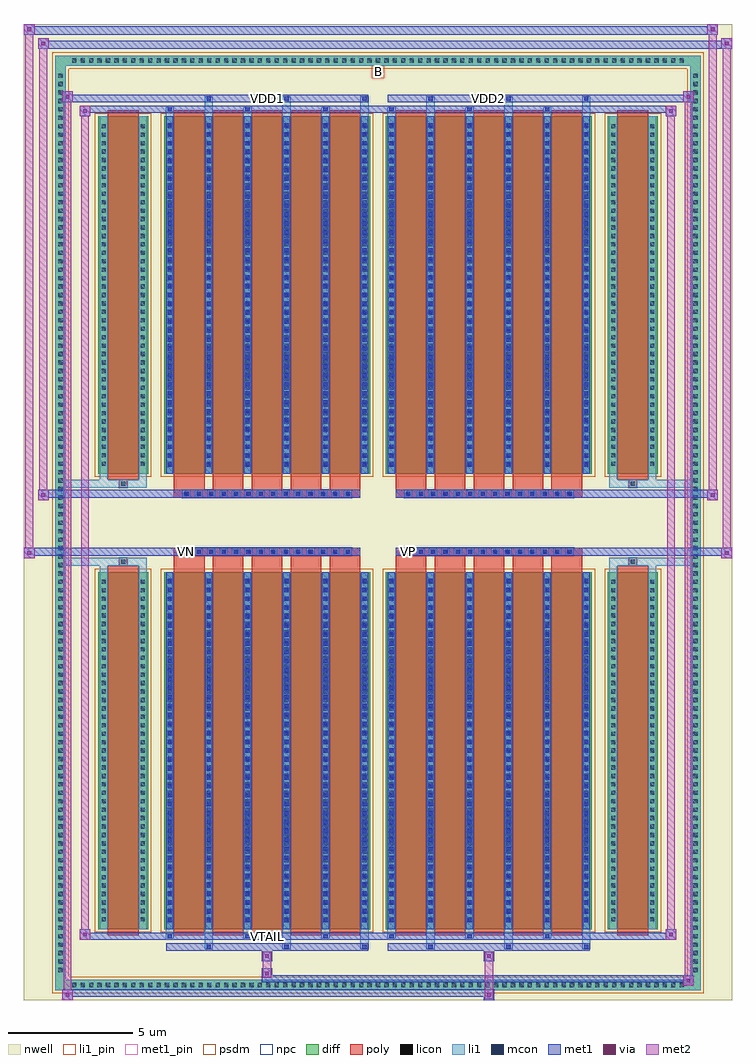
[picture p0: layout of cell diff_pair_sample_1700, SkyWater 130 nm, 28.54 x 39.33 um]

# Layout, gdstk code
import gdstk
lib = gdstk.Library(unit=1e-6, precision=5e-09)
def R(c, l, rs):  # rectangles x0, y0, x1, y1
    for r in rs: c.add(gdstk.rectangle(r[:2], r[2:], *l))
def A(c, l, x, y, w, h, nx, ny, dx, dy):  # array of equal rectangles
    R(c, l, [(x+i*dx, y+j*dy, x+i*dx+w, y+j*dy+h) for i in range(nx) for j in range(ny)])
def P(c, l, *ps):  # polygons
    for p in ps: c.add(gdstk.Polygon(p, *l))
nwell = (64, 20)
diff = (65, 20)
poly = (66, 20)
licon = (66, 44)
li1_pin = (67, 16)
li1 = (67, 20)
mcon = (67, 44)
met1_pin = (68, 16)
met1 = (68, 20)
via = (68, 44)
met2 = (69, 20)
psdm = (94, 20)
npc = (95, 20)

diff_pair_sample_1700 = lib.new_cell('diff_pair_sample_1700')
R(diff_pair_sample_1700, nwell, [(-14.27,-19.23,14.27,20.1), (-11.59,-17.42,-0.01,-0.8), (0.01,-17.42,11.59,-0.8), (-11.59,0.8,-0.01,17.42), (0.01,0.8,11.59,17.42)])
A(diff_pair_sample_1700, diff, -12.445, -18.83, 0.41, 0.41, 73, 2, 0.34, 37.25)
A(diff_pair_sample_1700, diff, -13, -18.225, 0.41, 0.41, 1, 107, 0, 0.34)
A(diff_pair_sample_1700, diff, 12.59, -18.225, 0.41, 0.41, 1, 107, 0, 0.34)
R(diff_pair_sample_1700, diff, [(-12.445,-18.83,12.445,-18.42), (-13,-18.225,-12.59,18.225), (12.59,-18.225,13,18.225), (-11.28,-16.375,-9.26,-1.985), (-8.62,-16.375,-0.32,-1.985), (0.32,-16.375,8.62,-1.985), (9.26,-16.375,11.28,-1.985), (-11.28,1.985,-9.26,16.375), (-8.62,1.985,-0.32,16.375), (0.32,1.985,8.62,16.375), (9.26,1.985,11.28,16.375), (-12.445,18.42,12.445,18.83)])
P(diff_pair_sample_1700, diff, [(13,18.83),(-13,18.83),(-13,-18.42),(-12.59,-18.42),(-12.59,18.42),(12.59,18.42),(12.59,-18.42),(-12.59,-18.42),(-13,-18.42),(-13,-18.83),(13,-18.83)])
A(diff_pair_sample_1700, poly, -8.23, -16.625, 1.24, 14.89, 5, 2, 1.57, 18.36)
A(diff_pair_sample_1700, poly, 0.71, -16.625, 1.24, 14.89, 5, 2, 1.57, 18.36)
A(diff_pair_sample_1700, poly, -8.23, -1.735, 1.24, 0.405, 5, 2, 1.57, 3.065)
A(diff_pair_sample_1700, poly, 0.71, -1.735, 1.24, 0.405, 5, 2, 1.57, 3.065)
A(diff_pair_sample_1700, poly, -7.885, -1.33, 0.33, 0.33, 14, 2, 0.5, 2.33)
A(diff_pair_sample_1700, poly, 1.055, -1.33, 0.33, 0.33, 14, 2, 0.5, 2.33)
R(diff_pair_sample_1700, poly, [(-10.89,-16.625,-9.65,-1.735), (9.65,-16.625,10.89,-1.735), (-10.435,-1.735,-10.105,-1.405), (-10.435,-1.735,-10.105,-1.405), (10.105,-1.735,10.435,-1.405), (10.105,-1.735,10.435,-1.405), (-8.23,-1.33,-0.71,-1), (0.71,-1.33,8.23,-1), (-8.23,1,-0.71,1.33), (0.71,1,8.23,1.33), (-10.435,1.405,-10.105,1.735), (-10.435,1.405,-10.105,1.735), (10.105,1.405,10.435,1.735), (10.105,1.405,10.435,1.735), (-10.89,1.735,-9.65,16.625), (9.65,1.735,10.89,16.625)])
A(diff_pair_sample_1700, licon, -12.325, -18.71, 0.17, 0.17, 73, 2, 0.34, 37.25)
A(diff_pair_sample_1700, licon, -12.88, -18.105, 0.17, 0.17, 1, 107, 0, 0.34)
A(diff_pair_sample_1700, licon, 12.71, -18.105, 0.17, 0.17, 1, 107, 0, 0.34)
A(diff_pair_sample_1700, licon, -11.14, -16.065, 0.17, 0.17, 1, 41, 0, 0.34)
A(diff_pair_sample_1700, licon, -9.57, -16.065, 0.17, 0.17, 1, 41, 0, 0.34)
A(diff_pair_sample_1700, licon, -8.48, -16.065, 0.17, 0.17, 6, 41, 1.57, 0.34)
A(diff_pair_sample_1700, licon, 0.46, -16.065, 0.17, 0.17, 6, 41, 1.57, 0.34)
A(diff_pair_sample_1700, licon, 9.4, -16.065, 0.17, 0.17, 1, 41, 0, 0.34)
A(diff_pair_sample_1700, licon, 10.97, -16.065, 0.17, 0.17, 1, 41, 0, 0.34)
A(diff_pair_sample_1700, licon, -7.805, -1.25, 0.17, 0.17, 14, 2, 0.5, 2.33)
A(diff_pair_sample_1700, licon, 1.135, -1.25, 0.17, 0.17, 14, 2, 0.5, 2.33)
A(diff_pair_sample_1700, licon, -11.14, 2.295, 0.17, 0.17, 1, 41, 0, 0.34)
A(diff_pair_sample_1700, licon, -9.57, 2.295, 0.17, 0.17, 1, 41, 0, 0.34)
A(diff_pair_sample_1700, licon, -8.48, 2.295, 0.17, 0.17, 6, 41, 1.57, 0.34)
A(diff_pair_sample_1700, licon, 0.46, 2.295, 0.17, 0.17, 6, 41, 1.57, 0.34)
A(diff_pair_sample_1700, licon, 9.4, 2.295, 0.17, 0.17, 1, 41, 0, 0.34)
A(diff_pair_sample_1700, licon, 10.97, 2.295, 0.17, 0.17, 1, 41, 0, 0.34)
R(diff_pair_sample_1700, licon, [(-10.355,-1.655,-10.185,-1.485), (10.185,-1.655,10.355,-1.485), (-10.355,1.485,-10.185,1.655), (10.185,1.485,10.355,1.655)])
R(diff_pair_sample_1700, li1_pin, [(-0.25,17.92,0.25,18.42)])
A(diff_pair_sample_1700, li1, -12.405, -18.79, 0.33, 0.33, 73, 2, 0.34, 37.25)
A(diff_pair_sample_1700, li1, -12.96, -18.185, 0.33, 0.33, 1, 107, 0, 0.34)
A(diff_pair_sample_1700, li1, 12.63, -18.185, 0.33, 0.33, 1, 107, 0, 0.34)
A(diff_pair_sample_1700, li1, -6.99, -17.18, 0.33, 0.805, 3, 2, 3.14, 33.555)
A(diff_pair_sample_1700, li1, -6.91, -17.18, 0.17, 0.17, 3, 2, 3.14, 34.19)
A(diff_pair_sample_1700, li1, 1.95, -17.18, 0.33, 0.805, 3, 2, 3.14, 33.555)
A(diff_pair_sample_1700, li1, 2.03, -17.18, 0.17, 0.17, 3, 2, 3.14, 34.19)
A(diff_pair_sample_1700, li1, -8.56, -16.75, 0.33, 0.375, 3, 2, 3.14, 33.125)
A(diff_pair_sample_1700, li1, -8.48, -16.75, 0.17, 0.17, 3, 2, 3.14, 33.33)
A(diff_pair_sample_1700, li1, 0.38, -16.75, 0.33, 0.375, 3, 2, 3.14, 33.125)
A(diff_pair_sample_1700, li1, 0.46, -16.75, 0.17, 0.17, 3, 2, 3.14, 33.33)
A(diff_pair_sample_1700, li1, -8.56, -16.375, 0.33, 14.39, 6, 2, 1.57, 18.36)
A(diff_pair_sample_1700, li1, 0.38, -16.375, 0.33, 14.39, 6, 2, 1.57, 18.36)
A(diff_pair_sample_1700, li1, -11.22, -16.145, 0.33, 0.33, 1, 41, 0, 0.34)
A(diff_pair_sample_1700, li1, -9.65, -16.145, 0.33, 0.33, 1, 41, 0, 0.34)
A(diff_pair_sample_1700, li1, -8.56, -16.145, 0.33, 0.33, 6, 41, 1.57, 0.34)
A(diff_pair_sample_1700, li1, 0.38, -16.145, 0.33, 0.33, 6, 41, 1.57, 0.34)
A(diff_pair_sample_1700, li1, 9.32, -16.145, 0.33, 0.33, 1, 41, 0, 0.34)
A(diff_pair_sample_1700, li1, 10.89, -16.145, 0.33, 0.33, 1, 41, 0, 0.34)
A(diff_pair_sample_1700, li1, -8.48, -16.105, 0.17, 0.17, 6, 39, 1.57, 0.36)
A(diff_pair_sample_1700, li1, -8.48, -16.105, 0.17, 13.85, 6, 2, 1.57, 18.36)
A(diff_pair_sample_1700, li1, 0.46, -16.105, 0.17, 0.17, 6, 39, 1.57, 0.36)
A(diff_pair_sample_1700, li1, 0.46, -16.105, 0.17, 13.85, 6, 2, 1.57, 18.36)
A(diff_pair_sample_1700, li1, -7.885, -1.33, 0.33, 0.33, 14, 2, 0.5, 2.33)
A(diff_pair_sample_1700, li1, 1.055, -1.33, 0.33, 0.33, 14, 2, 0.5, 2.33)
A(diff_pair_sample_1700, li1, -11.22, 2.215, 0.33, 0.33, 1, 41, 0, 0.34)
A(diff_pair_sample_1700, li1, -9.65, 2.215, 0.33, 0.33, 1, 41, 0, 0.34)
A(diff_pair_sample_1700, li1, -8.56, 2.215, 0.33, 0.33, 6, 41, 1.57, 0.34)
A(diff_pair_sample_1700, li1, 0.38, 2.215, 0.33, 0.33, 6, 41, 1.57, 0.34)
A(diff_pair_sample_1700, li1, 9.32, 2.215, 0.33, 0.33, 1, 41, 0, 0.34)
A(diff_pair_sample_1700, li1, 10.89, 2.215, 0.33, 0.33, 1, 41, 0, 0.34)
A(diff_pair_sample_1700, li1, -8.48, 2.255, 0.17, 0.17, 6, 39, 1.57, 0.36)
A(diff_pair_sample_1700, li1, 0.46, 2.255, 0.17, 0.17, 6, 39, 1.57, 0.36)
R(diff_pair_sample_1700, li1, [(-13,-18.83,-12.59,-18.42), (-13,-18.83,-12.59,-18.42), (-12.59,-18.83,12.59,-18.42), (12.59,-18.83,13,-18.42), (12.59,-18.83,13,-18.42), (-13,-18.42,-12.59,18.42), (12.59,-18.42,13,18.42), (-11.22,-16.375,-10.89,-1.985), (-9.65,-16.375,-9.32,-1.985), (9.32,-16.375,9.65,-1.985), (10.89,-16.375,11.22,-1.985), (-11.22,-1.985,-10.89,-1.405), (-9.65,-1.985,-9.32,-1.405), (9.32,-1.985,9.65,-1.405), (10.89,-1.985,11.22,-1.405), (-13,-1.735,-10.435,-1.405), (-11.22,-1.735,-10.435,-1.405), (-10.435,-1.735,-10.105,-1.405), (-10.105,-1.735,-9.32,-1.405), (9.32,-1.735,10.105,-1.405), (10.105,-1.735,10.435,-1.405), (10.105,-1.735,13,-1.405), (10.435,-1.735,11.22,-1.405), (-13,1.405,-10.435,1.735), (-11.22,1.405,-10.435,1.735), (-11.22,1.405,-10.89,1.985), (-10.435,1.405,-10.105,1.735), (-10.105,1.405,-9.32,1.735), (-9.65,1.405,-9.32,1.985), (9.32,1.405,10.105,1.735), (9.32,1.405,9.65,1.985), (10.105,1.405,10.435,1.735), (10.105,1.405,13,1.735), (10.435,1.405,11.22,1.735), (10.89,1.405,11.22,1.985), (-11.22,1.985,-10.89,16.375), (-9.65,1.985,-9.32,16.375), (9.32,1.985,9.65,16.375), (10.89,1.985,11.22,16.375), (-13,18.42,-12.59,18.83), (-13,18.42,-12.59,18.83), (-12.59,18.42,12.59,18.83), (12.59,18.42,13,18.83), (12.59,18.42,13,18.83)])
A(diff_pair_sample_1700, mcon, -6.91, -17.18, 0.17, 0.17, 3, 2, 3.14, 34.19)
A(diff_pair_sample_1700, mcon, 2.03, -17.18, 0.17, 0.17, 3, 2, 3.14, 34.19)
A(diff_pair_sample_1700, mcon, -8.48, -16.75, 0.17, 0.17, 3, 2, 3.14, 33.33)
A(diff_pair_sample_1700, mcon, 0.46, -16.75, 0.17, 0.17, 3, 2, 3.14, 33.33)
A(diff_pair_sample_1700, mcon, -8.48, -16.105, 0.17, 0.17, 6, 39, 1.57, 0.36)
A(diff_pair_sample_1700, mcon, 0.46, -16.105, 0.17, 0.17, 6, 39, 1.57, 0.36)
A(diff_pair_sample_1700, mcon, -7.805, -1.25, 0.17, 0.17, 14, 2, 0.5, 2.33)
A(diff_pair_sample_1700, mcon, 1.135, -1.25, 0.17, 0.17, 14, 2, 0.5, 2.33)
A(diff_pair_sample_1700, mcon, -8.48, 2.255, 0.17, 0.17, 6, 39, 1.57, 0.36)
A(diff_pair_sample_1700, mcon, 0.46, 2.255, 0.17, 0.17, 6, 39, 1.57, 0.36)
R(diff_pair_sample_1700, met1_pin, [(-4.605,-16.79,-4.335,-16.52), (-7.855,-1.29,-7.585,-1.02), (1.085,-1.29,1.355,-1.02), (-4.605,16.97,-4.335,17.24), (4.335,16.97,4.605,17.24)])
A(diff_pair_sample_1700, met1, -6.97, -17.24, 0.29, 0.29, 3, 2, 3.14, 34.19)
A(diff_pair_sample_1700, met1, 1.97, -17.24, 0.29, 0.29, 3, 2, 3.14, 34.19)
A(diff_pair_sample_1700, met1, -8.54, -16.81, 0.29, 0.29, 3, 2, 3.14, 33.33)
A(diff_pair_sample_1700, met1, 0.4, -16.81, 0.29, 0.29, 3, 2, 3.14, 33.33)
A(diff_pair_sample_1700, met1, -8.54, -16.375, 0.29, 14.39, 6, 2, 1.57, 18.36)
A(diff_pair_sample_1700, met1, 0.4, -16.375, 0.29, 14.39, 6, 2, 1.57, 18.36)
A(diff_pair_sample_1700, met1, -8.54, -16.165, 0.29, 0.29, 6, 39, 1.57, 0.36)
A(diff_pair_sample_1700, met1, 0.4, -16.165, 0.29, 0.29, 6, 39, 1.57, 0.36)
A(diff_pair_sample_1700, met1, -7.865, -1.31, 0.29, 0.29, 14, 2, 0.5, 2.33)
A(diff_pair_sample_1700, met1, 1.075, -1.31, 0.29, 0.29, 14, 2, 0.5, 2.33)
A(diff_pair_sample_1700, met1, -8.54, 2.195, 0.29, 0.29, 6, 39, 1.57, 0.36)
A(diff_pair_sample_1700, met1, 0.4, 2.195, 0.29, 0.29, 6, 39, 1.57, 0.36)
R(diff_pair_sample_1700, met1, [(-12.73,-19.23,-12.3,-18.8), (4.255,-19.23,4.685,-18.8), (-12.73,-19.09,4.685,-18.8), (12.3,-18.66,12.73,-18.23), (-4.685,-18.52,12.73,-18.23), (-4.685,-18.38,-4.255,-17.95), (-4.685,-17.67,-4.255,-17.24), (4.255,-17.67,4.685,-17.24), (-8.54,-17.24,-0.4,-16.95), (0.4,-17.24,8.54,-16.95), (-12.02,-16.81,-11.59,-16.38), (-12.02,-16.81,-8.54,-16.52), (-8.54,-16.81,-0.4,-16.52), (-0.4,-16.81,0.4,-16.52), (0.4,-16.81,8.54,-16.52), (8.54,-16.81,12.02,-16.52), (11.59,-16.81,12.02,-16.38), (-14.27,-1.43,-13.84,-1), (13.84,-1.43,14.27,-1), (-14.27,-1.33,-0.71,-1), (-8.23,-1.33,-0.71,-1), (0.71,-1.33,8.23,-1), (0.71,-1.33,14.27,-1), (-13.7,0.9,-13.27,1.33), (13.27,0.9,13.7,1.33), (-13.7,1,-8.23,1.33), (-8.23,1,-0.71,1.33), (0.71,1,8.23,1.33), (8.23,1,13.7,1.33), (-12.02,16.38,-11.59,16.81), (11.59,16.38,12.02,16.81), (-12.02,16.52,-8.54,16.81), (-8.54,16.52,-0.4,16.81), (-0.4,16.52,0.4,16.81), (0.4,16.52,8.54,16.81), (8.54,16.52,12.02,16.81), (-12.73,16.95,-12.3,17.38), (-12.73,16.95,-8.54,17.24), (-8.54,16.95,-0.4,17.24), (0.4,16.95,8.54,17.24), (8.54,16.95,12.73,17.24), (12.3,16.95,12.73,17.38), (-13.7,19.1,-13.27,19.53), (-13.7,19.1,-11.59,19.43), (-11.59,19.1,11.59,19.43), (11.59,19.1,14.27,19.43), (13.84,19.1,14.27,19.53), (-14.27,19.67,-13.84,20.1), (-14.27,19.67,-11.59,20), (-11.59,19.67,11.59,20), (11.59,19.67,13.7,20), (13.27,19.67,13.7,20.1)])
R(diff_pair_sample_1700, via, [(-12.59,-19.09,-12.44,-18.94), (4.395,-19.09,4.545,-18.94), (12.44,-18.52,12.59,-18.37), (-4.545,-18.24,-4.395,-18.09), (-4.545,-17.53,-4.395,-17.38), (4.395,-17.53,4.545,-17.38), (-11.88,-16.67,-11.73,-16.52), (11.73,-16.67,11.88,-16.52), (-14.13,-1.29,-13.98,-1.14), (13.98,-1.29,14.13,-1.14), (-13.56,1.04,-13.41,1.19), (13.41,1.04,13.56,1.19), (-11.88,16.52,-11.73,16.67), (11.73,16.52,11.88,16.67), (-12.59,17.09,-12.44,17.24), (12.44,17.09,12.59,17.24), (-13.56,19.24,-13.41,19.39), (13.98,19.24,14.13,19.39), (-14.13,19.81,-13.98,19.96), (13.41,19.81,13.56,19.96)])
R(diff_pair_sample_1700, met2, [(-12.73,-19.23,-12.3,-18.8), (-12.66,-19.23,-12.37,17.38), (-12.37,-19.23,-12.3,-18.8), (-12.68,-19.18,-12.35,-18.85), (4.305,-19.18,4.635,-18.85), (4.305,-18.85,4.635,-17.62), (12.3,-18.66,12.73,-18.23), (12.37,-18.66,12.66,17.38), (12.66,-18.66,12.73,-18.23), (12.35,-18.61,12.68,-18.28), (-4.635,-18.33,-4.305,-18), (-4.635,-18,-4.305,-17.62), (-4.635,-17.62,-4.305,-17.29), (4.305,-17.62,4.635,-17.29), (-12.02,-16.81,-11.59,-16.38), (-11.95,-16.81,-11.66,16.81), (-11.66,-16.81,-11.59,-16.38), (11.59,-16.81,12.02,-16.38), (11.66,-16.81,11.95,16.81), (11.95,-16.81,12.02,-16.38), (-11.97,-16.76,-11.64,-16.43), (11.64,-16.76,11.97,-16.43), (-14.27,-1.43,-13.84,-1), (-14.22,-1.43,-13.89,20.1), (-13.89,-1.43,-13.84,-1), (13.84,-1.43,14.27,-1), (13.89,-1.43,14.22,19.53), (14.22,-1.43,14.27,-1), (-14.22,-1.38,-13.89,-1.05), (13.89,-1.38,14.22,-1.05), (-13.7,0.9,-13.27,1.33), (-13.65,0.9,-13.32,19.53), (-13.32,0.9,-13.27,1.33), (13.27,0.9,13.7,1.33), (13.32,0.9,13.65,20.1), (13.65,0.9,13.7,1.33), (-13.65,0.95,-13.32,1.28), (13.32,0.95,13.65,1.28), (-12.02,16.38,-11.59,16.81), (-11.66,16.38,-11.59,16.81), (11.59,16.38,12.02,16.81), (11.95,16.38,12.02,16.81), (-11.97,16.43,-11.64,16.76), (11.64,16.43,11.97,16.76), (-12.73,16.95,-12.3,17.38), (-12.37,16.95,-12.3,17.38), (12.3,16.95,12.73,17.38), (12.66,16.95,12.73,17.38), (-12.68,17,-12.35,17.33), (12.35,17,12.68,17.33), (-13.7,19.1,-13.27,19.53), (-13.32,19.1,-13.27,19.53), (13.84,19.1,14.27,19.53), (14.22,19.1,14.27,19.53), (-13.65,19.15,-13.32,19.48), (13.89,19.15,14.22,19.48), (-14.27,19.67,-13.84,20.1), (-13.89,19.67,-13.84,20.1), (13.27,19.67,13.7,20.1), (13.65,19.67,13.7,20.1), (-14.22,19.72,-13.89,20.05), (13.32,19.72,13.65,20.05)])
R(diff_pair_sample_1700, psdm, [(-11.41,-16.505,-9.13,-1.855), (-8.75,-16.505,-0.19,-1.855), (0.19,-16.505,8.75,-1.855), (9.13,-16.505,11.41,-1.855), (-11.41,1.855,-9.13,16.505), (-8.75,1.855,-0.19,16.505), (0.19,1.855,8.75,16.505), (9.13,1.855,11.41,16.505)])
P(diff_pair_sample_1700, psdm, [(13.13,18.96),(-13.13,18.96),(-13.13,-18.29),(-12.46,-18.29),(-12.46,18.29),(12.46,18.29),(12.46,-18.29),(-12.46,-18.29),(-13.13,-18.29),(-13.13,-18.96),(13.13,-18.96)])
A(diff_pair_sample_1700, npc, -7.905, -1.35, 0.37, 0.37, 14, 2, 0.5, 2.33)
A(diff_pair_sample_1700, npc, 1.035, -1.35, 0.37, 0.37, 14, 2, 0.5, 2.33)
R(diff_pair_sample_1700, npc, [(-10.455,-1.755,-10.085,-1.385), (10.085,-1.755,10.455,-1.385), (-7.905,-1.35,-7.035,-0.98), (-7.905,-1.35,-7.035,-0.98), (-7.405,-1.35,-6.535,-0.98), (-7.405,-1.35,-6.535,-0.98), (-6.905,-1.35,-6.035,-0.98), (-6.905,-1.35,-6.035,-0.98), (-6.405,-1.35,-5.535,-0.98), (-6.405,-1.35,-5.535,-0.98), (-5.905,-1.35,-5.035,-0.98), (-5.905,-1.35,-5.035,-0.98), (-5.405,-1.35,-4.535,-0.98), (-5.405,-1.35,-4.535,-0.98), (-4.905,-1.35,-4.035,-0.98), (-4.905,-1.35,-4.035,-0.98), (-4.405,-1.35,-3.535,-0.98), (-4.405,-1.35,-3.535,-0.98), (-3.905,-1.35,-3.035,-0.98), (-3.905,-1.35,-3.035,-0.98), (-3.405,-1.35,-2.535,-0.98), (-3.405,-1.35,-2.535,-0.98), (-2.905,-1.35,-2.035,-0.98), (-2.905,-1.35,-2.035,-0.98), (-2.405,-1.35,-1.535,-0.98), (-2.405,-1.35,-1.535,-0.98), (-1.905,-1.35,-1.035,-0.98), (-1.905,-1.35,-1.035,-0.98), (1.035,-1.35,1.905,-0.98), (1.035,-1.35,1.905,-0.98), (1.535,-1.35,2.405,-0.98), (1.535,-1.35,2.405,-0.98), (2.035,-1.35,2.905,-0.98), (2.035,-1.35,2.905,-0.98), (2.535,-1.35,3.405,-0.98), (2.535,-1.35,3.405,-0.98), (3.035,-1.35,3.905,-0.98), (3.035,-1.35,3.905,-0.98), (3.535,-1.35,4.405,-0.98), (3.535,-1.35,4.405,-0.98), (4.035,-1.35,4.905,-0.98), (4.035,-1.35,4.905,-0.98), (4.535,-1.35,5.405,-0.98), (4.535,-1.35,5.405,-0.98), (5.035,-1.35,5.905,-0.98), (5.035,-1.35,5.905,-0.98), (5.535,-1.35,6.405,-0.98), (5.535,-1.35,6.405,-0.98), (6.035,-1.35,6.905,-0.98), (6.035,-1.35,6.905,-0.98), (6.535,-1.35,7.405,-0.98), (6.535,-1.35,7.405,-0.98), (7.035,-1.35,7.905,-0.98), (7.035,-1.35,7.905,-0.98), (-7.905,0.98,-7.035,1.35), (-7.905,0.98,-7.035,1.35), (-7.405,0.98,-6.535,1.35), (-7.405,0.98,-6.535,1.35), (-6.905,0.98,-6.035,1.35), (-6.905,0.98,-6.035,1.35), (-6.405,0.98,-5.535,1.35), (-6.405,0.98,-5.535,1.35), (-5.905,0.98,-5.035,1.35), (-5.905,0.98,-5.035,1.35), (-5.405,0.98,-4.535,1.35), (-5.405,0.98,-4.535,1.35), (-4.905,0.98,-4.035,1.35), (-4.905,0.98,-4.035,1.35), (-4.405,0.98,-3.535,1.35), (-4.405,0.98,-3.535,1.35), (-3.905,0.98,-3.035,1.35), (-3.905,0.98,-3.035,1.35), (-3.405,0.98,-2.535,1.35), (-3.405,0.98,-2.535,1.35), (-2.905,0.98,-2.035,1.35), (-2.905,0.98,-2.035,1.35), (-2.405,0.98,-1.535,1.35), (-2.405,0.98,-1.535,1.35), (-1.905,0.98,-1.035,1.35), (-1.905,0.98,-1.035,1.35), (1.035,0.98,1.905,1.35), (1.035,0.98,1.905,1.35), (1.535,0.98,2.405,1.35), (1.535,0.98,2.405,1.35), (2.035,0.98,2.905,1.35), (2.035,0.98,2.905,1.35), (2.535,0.98,3.405,1.35), (2.535,0.98,3.405,1.35), (3.035,0.98,3.905,1.35), (3.035,0.98,3.905,1.35), (3.535,0.98,4.405,1.35), (3.535,0.98,4.405,1.35), (4.035,0.98,4.905,1.35), (4.035,0.98,4.905,1.35), (4.535,0.98,5.405,1.35), (4.535,0.98,5.405,1.35), (5.035,0.98,5.905,1.35), (5.035,0.98,5.905,1.35), (5.535,0.98,6.405,1.35), (5.535,0.98,6.405,1.35), (6.035,0.98,6.905,1.35), (6.035,0.98,6.905,1.35), (6.535,0.98,7.405,1.35), (6.535,0.98,7.405,1.35), (7.035,0.98,7.905,1.35), (7.035,0.98,7.905,1.35), (-10.455,1.385,-10.085,1.755), (10.085,1.385,10.455,1.755)])
diff_pair_sample_1700.add(gdstk.Label('VTAIL', (-4.47,-16.655), layer=68, texttype=5))
diff_pair_sample_1700.add(gdstk.Label('VN', (-7.72,-1.155), layer=68, texttype=5))
diff_pair_sample_1700.add(gdstk.Label('VP', (1.22,-1.155), layer=68, texttype=5))
diff_pair_sample_1700.add(gdstk.Label('B', (0,18.17), layer=67, texttype=5))
diff_pair_sample_1700.add(gdstk.Label('VDD2', (4.47,17.105), layer=68, texttype=5))
diff_pair_sample_1700.add(gdstk.Label('VDD1', (-4.47,17.105), layer=68, texttype=5))

lib.write_gds('diff_pair_sample_1700.gds')
